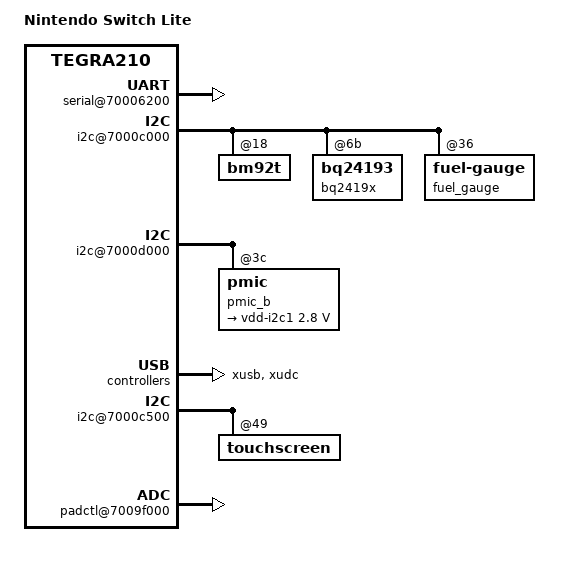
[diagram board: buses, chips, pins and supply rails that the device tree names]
// SPDX-License-Identifier: GPL-2.0
/dts-v1/;

#include "tegra210b01-nx.dtsi"

/ {
	model = "Nintendo Switch Lite";
	compatible = "nvidia,vali", "nintendo,hoag", "nintendo,nx", "nvidia,tegra210b01", "nvidia,tegra210";

    /* Joycon/Fan power (usb) */
	v_vdd50_b: v-vdd50-b {
		status = "disabled"; /* Only enabled on Odin/Modin */
	};

	en_vdd_jcl_chgr: left-joycon-charger {
		status = "disabled"; /* Only enabled on Odin/Modin/Fric */
	};

	en_vdd_jcr_chgr: right-joycon-charger {
		status = "disabled"; /* Only enabled on Odin/Modin/Fric */
	};

	spi@7000da00 {
		status = "disabled"; /* Disabled for Vali since Sio uses it */
	};

	/* Right Joycon */
	serial@70006040 {
		status = "disabled";

		joyconr {
			status = "disabled";
		};
	};

	/* Left Joycon / Sio */
	serial@70006200 {
		status = "okay";
		/delete-property/ nvidia,invert-txd;
		/delete-property/ nvidia,invert-rts;

		joyconl {
			status = "disabled";
		};

		sio {
			status = "okay";
		};
	};

	i2c@7000c000 {
		bm92t: bm92t@18 {
			status = "okay";
			interrupts = <TEGRA_GPIO(K, 4) IRQ_TYPE_LEVEL_LOW>;
			pinctrl-names = "default";
			pinctrl-0 = <&vali_bm92_irq_default>;
			/delete-property/ rohm,dp-signal-toggle-on-resume;
			rohm,dp-disable;
			rohm,pd-5v-current-limit-ma = <2000>;
			rohm,pd-9v-current-limit-ma = <1500>;
			rohm,pd-12v-current-limit-ma = <1200>;
			rohm,pd-15v-current-limit-ma = <900>;
		};

		bq2419x: bq24193@6b {
			battery_charger: charger {
				ti,charge-voltage-limit-millivolt = <4320>; /* Adjusted by cell age */
				ti,fast-charge-current-limit-milliamp = <1664>;
				ti,temp-range = <0 18 47 58>;
				ti,charge-thermal-voltage-limit = <4320 4320 4320 4080>; /* Adjusted by cell age */
				ti,charge-current-limit = <512 640 1664 1664>;
			};
		};

		fuel_gauge: fuel-gauge@36 {
			maxim,over-volt = <4320>; /* Actual: 4370 mV */
			maxim,kernel-maximum-soc = <100>; /* Adjusted by cell age */
		};
	};

	i2c@7000d000 {
		pmic_b: pmic@3c {
			regulators {
				/* Vali: Powers LDO 2V8 for Sio VDD
				 * Powers LDO 1V8 for I2C1 VDDQ and ALC5639.
				 */
				ldo8 {
					regulator-name = "vdd-i2c1";
					regulator-max-microvolt = <2800000>;
					regulator-always-on;
					regulator-boot-on;
				};
			};
		};
	};

	i2c@546c0000 {
		bus-pullup-supply = <&battery_reg>;
	};

	host1x@50000000 {
		/* tegradc.1: DP */
		dc@54240000 {
			status = "disabled";
		};
	};

	xusb: usb@70090000 {
		status = "okay";

		phys = <&{/padctl@7009f000/pads/usb2/lanes/usb2-0}>,
			<&{/padctl@7009f000/pads/pcie/lanes/pcie-5}>;
		phy-names = "usb2-0", "usb3-0";

		extcon = <&bm92t 0>;
		extcon-cable-names = "vbus";

		avdd-usb-supply = <&vdd_3v3>;
		dvddio-pex-supply = <&max77620_ldo1>;
		hvddio-pex-supply = <&max77620_sd3>;
	};

	xudc: usb@700d0000 {
		status = "okay";

		phys = <&{/padctl@7009f000/pads/usb2/lanes/usb2-0}>,
			<&{/padctl@7009f000/pads/pcie/lanes/pcie-5}>;
		phy-names = "usb2-0", "usb3-0";

		extcon = <&bm92t 1>;
		extcon-cable-names = "id";

		hvdd-usb-supply = <&vdd_3v3>;
		avddio-usb-supply = <&max77620_ldo1>;
	};

	pinmux@700008d4 {
		vali_touch_irq_default: vali-touch-irq-default {
			touch_int_px1 {
				nvidia,pins = "touch_int_px1";
				nvidia,function = "rsvd0";
				nvidia,pull = <TEGRA_PIN_PULL_UP>;
				nvidia,tristate = <TEGRA_PIN_ENABLE>;
				nvidia,enable-input = <TEGRA_PIN_ENABLE>;
			};
		};

		vali_bm92_irq_default: vali-bm92-irq-default {
			pk4 {
				nvidia,pins = "pk4";
				nvidia,function = "rsvd1";
				nvidia,pull = <TEGRA_PIN_PULL_UP>;
				nvidia,tristate = <TEGRA_PIN_ENABLE>;
				nvidia,enable-input = <TEGRA_PIN_ENABLE>;
			};
		};
	};

	/* FTM4 touchscreen IRQ is active-low and requires a pull-up. */
	i2c@7000c500 {
		touchscreen@49 {
			pinctrl-names = "default";
			pinctrl-0 = <&vali_touch_irq_default>;
		};
	};

	padctl@7009f000 {
		status =  "okay";

		avdd-pll-utmip-supply = <&max77620_sd3>;
		avdd-pll-uerefe-supply = <&max77620_ldo1>;
		dvdd-pex-pll-supply = <&max77620_ldo1>;
		hvdd-pex-pll-e-supply = <&max77620_sd3>;
	};
};
